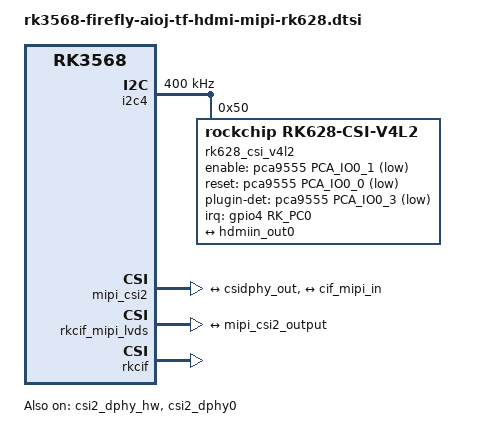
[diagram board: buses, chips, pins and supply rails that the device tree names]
// SPDX-License-Identifier: (GPL-2.0+ OR MIT)
/*
 * AIO-3568J.
 *
 */

&pca9555{
	interrupt-controller;
	interrupt-parent = <&gpio3>;
	interrupts = <RK_PB0 IRQ_TYPE_LEVEL_LOW>;
	pinctrl-names = "default";
	pinctrl-0 = <&pca_irq>;
};

&rk809_codec {
    mic-in-line2-rk628d;
    micin-pga-gain = <119>;
};

&i2c4{
    status = "okay";
    clock-frequency = <400000>;
    pinctrl-0 = <&i2c4m0_xfer>;

    rk628_csi_v4l2: rk628_csi_v4l2@50 {
        reg = <0x50>;
        compatible = "rockchip,rk628-csi-v4l2";
        interrupt-parent = <&gpio4>;
        interrupts = <RK_PC0 IRQ_TYPE_LEVEL_HIGH>;
        enable-gpios = <&pca9555 PCA_IO0_1 GPIO_ACTIVE_LOW>;
        reset-gpios = <&pca9555 PCA_IO0_0 GPIO_ACTIVE_LOW>;
        plugin-det-gpios = <&pca9555 PCA_IO0_3 GPIO_ACTIVE_LOW>;
        //power-gpios = <&gpio0 17 GPIO_ACTIVE_HIGH>;

        rockchip,camera-module-index = <0>;
        rockchip,camera-module-facing = "back";
        rockchip,camera-module-name = "RK628-CSI";
        rockchip,camera-module-lens-name = "NC";

        port {
            hdmi_in0: endpoint {
                remote-endpoint = <&hdmiin_out0>;
                data-lanes = <1 2 3 4>;
                };
            };
        };
};

&csi2_dphy_hw {
	status = "okay";
};

&csi2_dphy0 {
	status = "okay";
	/*
	* dphy0 only used for full mode,
	* full mode and split mode are mutually exclusive
	*/
	ports {
        #address-cells = <1>;
        #size-cells = <0>;

        port@0 {
            reg = <0>;
            #address-cells = <1>;
            #size-cells = <0>;

            hdmiin_out0: endpoint@0 {
                reg = <0>;
                remote-endpoint = <&hdmi_in0>;
                data-lanes = <1 2 3 4>;
            };
        };

        port@1 {
            reg = <1>;
            #address-cells = <1>;
            #size-cells = <0>;

            csidphy_out: endpoint@0 {
                reg = <0>;
                remote-endpoint = <&mipi_csi2_input>;
                data-lanes = <1 2 3 4>;
            };
        };
    };
};

&mipi_csi2 {
    status = "okay";

    ports {
        #address-cells = <1>;
        #size-cells = <0>;

        port@0 {
            reg = <0>;
            #address-cells = <1>;
            #size-cells = <0>;

            mipi_csi2_input: endpoint@1 {
                reg = <1>;
                remote-endpoint = <&csidphy_out>;
                data-lanes = <1 2 3 4>;
            };
        };

        port@1 {
            reg = <1>;
            #address-cells = <1>;
            #size-cells = <0>;

            mipi_csi2_output: endpoint@0 {
                reg = <0>;
                remote-endpoint = <&cif_mipi_in>;
                data-lanes = <1 2 3 4>;
            };
        };
    };
};

&rkcif_mipi_lvds {
    status = "okay";
    port {
        cif_mipi_in: endpoint {
        remote-endpoint = <&mipi_csi2_output>;
        data-lanes = <1 2 3 4>;
        };
    };
};


&rkcif_mmu {
    status = "okay";
};

&rkcif {
    status = "okay";
};

&rkisp {
    status = "disabled";
};

&pinctrl {
    pca{
        pca_irq: pca-irq {
	        rockchip,pins = <3 RK_PB0 RK_FUNC_GPIO &pcfg_pull_none>;
		};
    };
};
